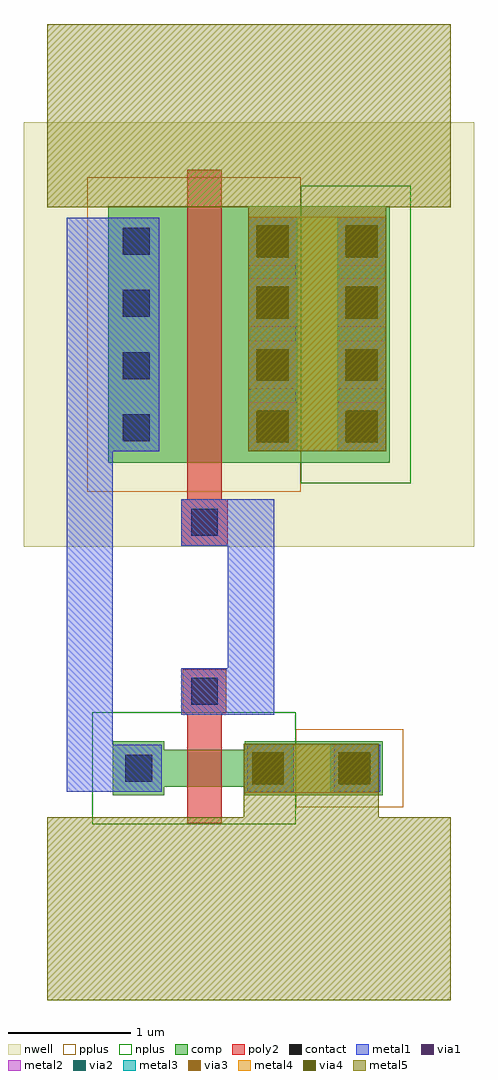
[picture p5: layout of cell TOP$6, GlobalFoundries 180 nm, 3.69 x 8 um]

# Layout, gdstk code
import gdstk
lib = gdstk.Library(unit=1e-6, precision=1e-09)
def R(c, l, rs):  # rectangles x0, y0, x1, y1
    for r in rs: c.add(gdstk.rectangle(r[:2], r[2:], *l))
def A(c, l, x, y, w, h, nx, ny, dx, dy):  # array of equal rectangles
    R(c, l, [(x+i*dx, y+j*dy, x+i*dx+w, y+j*dy+h) for i in range(nx) for j in range(ny)])
nwell = (21, 0)
comp = (22, 0)
poly2 = (30, 0)
pplus = (31, 0)
nplus = (32, 0)
contact = (33, 0)
metal1 = (34, 0)
via1 = (35, 0)
metal2 = (36, 0)
via2 = (38, 0)
via3 = (40, 0)
via4 = (41, 0)
metal3 = (42, 0)
metal4 = (46, 0)
metal5 = (81, 0)

nfet_5 = lib.new_cell('nfet$5')
R(nfet_5, comp, [(-0.42,-0.07,0,0.37), (0.66,-0.07,1.08,0.37), (1.08,-0.07,1.79,0.37), (0,0,0.66,0.3)])
R(nfet_5, poly2, [(0.19,-0.3,0.47,0.6), (0.15,0.6,0.51,0.96)])
R(nfet_5, pplus, [(1.08,-0.17,1.96,0.47)])
R(nfet_5, nplus, [(-0.59,-0.31,1.08,0.61)])
R(nfet_5, contact, [(-0.32,0.04,-0.1,0.26), (0.76,0.04,0.98,0.26), (1.47,0.04,1.69,0.26), (0.22,0.67,0.44,0.89)])
R(nfet_5, metal1, [(-0.4,-0.041,-0.02,0.341), (0.68,-0.041,1.06,0.341), (1.39,-0.041,1.77,0.341), (0.14,0.589,0.52,0.971)])

via_dev_1_3 = lib.new_cell('via_dev$1$3')
R(via_dev_1_3, metal2, [(0,0,0.4,0.4)])
R(via_dev_1_3, via2, [(0.07,0.07,0.33,0.33)])
R(via_dev_1_3, via3, [(0.07,0.07,0.33,0.33)])
R(via_dev_1_3, via4, [(0.07,0.07,0.33,0.33)])
R(via_dev_1_3, metal3, [(0,0,0.4,0.4)])
R(via_dev_1_3, metal4, [(0,0,0.4,0.4)])
R(via_dev_1_3, metal5, [(0,0,0.4,0.4)])

via_dev_11 = lib.new_cell('via_dev$11')
R(via_dev_11, metal1, [(0,0,0.4,0.4)])
R(via_dev_11, via1, [(0.07,0.07,0.33,0.33)])
R(via_dev_11, metal2, [(0,0,0.4,0.4)])
R(via_dev_11, via2, [(0.07,0.07,0.33,0.33)])
R(via_dev_11, via3, [(0.07,0.07,0.33,0.33)])
R(via_dev_11, via4, [(0.07,0.07,0.33,0.33)])
R(via_dev_11, metal3, [(0,0,0.4,0.4)])
R(via_dev_11, metal4, [(0,0,0.4,0.4)])
R(via_dev_11, metal5, [(0,0,0.4,0.4)])

pfet_7 = lib.new_cell('pfet$7')
R(pfet_7, nwell, [(-1.15,-0.69,2.54,2.79)])
R(pfet_7, comp, [(-0.46,0,0,2.1), (0,0,0.66,2.1), (0.66,0,1.12,2.1), (1.12,0,1.85,2.1)])
R(pfet_7, poly2, [(0.14,-0.68,0.52,-0.3), (0.19,-0.3,0.47,2.4)])
R(pfet_7, pplus, [(-0.63,-0.24,1.12,2.34)])
R(pfet_7, nplus, [(1.12,-0.17,2.02,2.27)])
A(pfet_7, contact, -0.34, 0.175, 0.22, 0.22, 1, 4, 0, 0.51)
A(pfet_7, contact, 0.78, 0.175, 0.22, 0.22, 1, 4, 0, 0.51)
A(pfet_7, contact, 1.51, 0.175, 0.22, 0.22, 1, 4, 0, 0.51)
R(pfet_7, contact, [(0.22,-0.6,0.44,-0.38)])
R(pfet_7, metal1, [(0.14,-0.681,0.52,-0.299), (-0.42,0.095,-0.04,2.005), (0.7,0.095,1.08,2.005), (1.43,0.095,1.81,2.005)])

top_6 = lib.new_cell('TOP$6')
R(top_6, metal1, [(0.16,1.709,0.54,6.41), (0.54,1.709,0.56,2.091), (1.48,2.339,1.86,4.106)])
R(top_6, metal3, [(1.65,4.5,2.05,6.42), (2.38,4.5,2.78,6.42)])
R(top_6, metal4, [(1.61,1.7,2.72,2.1), (1.65,4.5,2.78,6.42)])
R(top_6, metal5, [(0,0,3.31,1.5), (1.61,1.5,2.72,2.1), (1.65,4.5,2.78,6.505), (0,6.5,3.31,8)])
top_6.add(gdstk.Reference(nfet_5, (0.96,1.75)))
top_6.add(gdstk.Reference(via_dev_1_3, (1.61,1.7)))
top_6.add(gdstk.Reference(via_dev_1_3, (2.32,1.7)))
top_6.add(gdstk.Reference(via_dev_11, (2.38,6.02)))
top_6.add(gdstk.Reference(via_dev_11, (1.65,6.02)))
top_6.add(gdstk.Reference(via_dev_11, (2.38,5.515)))
top_6.add(gdstk.Reference(via_dev_11, (1.65,5.515)))
top_6.add(gdstk.Reference(via_dev_11, (2.38,5.005)))
top_6.add(gdstk.Reference(via_dev_11, (1.65,5.005)))
top_6.add(gdstk.Reference(via_dev_11, (2.38,4.5)))
top_6.add(gdstk.Reference(via_dev_11, (1.65,4.5)))
top_6.add(gdstk.Reference(pfet_7, (0.96,4.405)))

lib.write_gds('TOP_6.gds')
